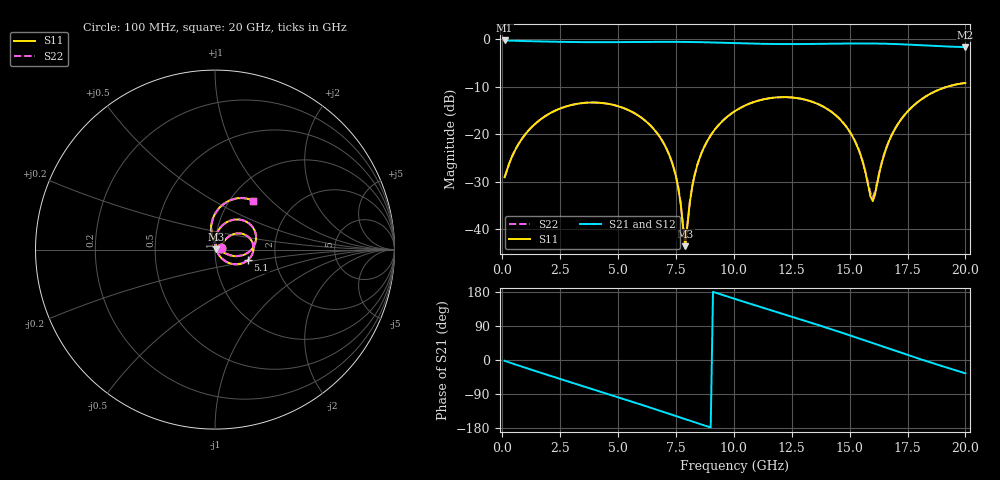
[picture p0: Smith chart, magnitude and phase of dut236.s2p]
! Touchstone file exported from HFSS 2026.1.0
!  File:  C:/ffzhzh/LocalFiles/Ansys_Project_Files/temp_train_TSV_RDL_236_1783065382_18316.aedt
!  Generated:  04:06:40 PM Jul  3, 2026
!  Design:  TSV_RDL
!  Project:  temp_train_TSV_RDL_236_1783065382_18316
! Variables:
!  h_bsmrdl = 5.8um
!  h_ox = 20um
!  h_rdl = 5um
!  h_sub = 62.89um
!  h_tmrdl = 2.36um
!  h_tsv = 62.89um
!  h_via = 3um
!  l_bsmrdl = 706.61um
!  l_sub = 6522.49um
!  l_tmrdl = 966.33um
!  m_sub = 200um
!  pitch = 33.5um
!  r_tsv = 14.05um
!  s_tmrdl = 10um
!  w_bsmrdl = 24.6um
!  w_sub = 500um
!  w_tmrdl = 21.18um
!  x_tsv_center1 = 976.92um
!  x_tsv_center2 = 1708.13um
!  x_tsv_center3 = 2695.64um
!  x_tsv_center4 = 3426.85um
!  x_tsv_center5 = 4414.36um
!  x_tsv_center6 = 5145.57um
# GHz S MA R 50.000000
! Terminal data exported
! Port[1] = TM_RDL1_1_T1
! Port[2] = TM_RDL5_1_T1
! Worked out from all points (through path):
!   200 points, 100 MHz to 20 GHz, reference 50 ohm
!   highest |S21| = -0.29 dB at 100 MHz (marker M1); lowest = -1.7 dB at 20 GHz (marker M2)
!   group delay of S21, straight-line fit = 54.8 ps
!   lowest |S11| = -43.6 dB at 7.9 GHz (marker M3), VSWR 1.01, Z = 50.6 + j0.215 ohm
!   |S11| at or under -10 dB: start of sweep to 19.23 GHz
!   |S22| runs from -42.9 to -9.2 dB; largest |S21 - S12| = 1.7e-14
!   S11 on the Smith chart (normalised r, x): 100 MHz: 1.07, +0.02; 5.1 GHz: 1.44, -0.17; 20 GHz: 1.27, +0.78
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0.1  0.03519 17.7  0.9668 -2.2  0.9668 -2.2  0.03519 17.8
! Gamma 0 0 0 0
! Port Impedance 50 0 50 0
0.6  0.07127 42.6  0.9575 -12.6  0.9575 -12.6  0.07126 42.7
1.3  0.1206 41.9  0.9482 -26.6  0.9482 -26.6  0.1206 41.9
3.5  0.2127 10.3  0.9283 -69.3  0.9283 -69.3  0.2127 10.4
5.1  0.1934 -17.4  0.9287 -100.2  0.9287 -100.2  0.1933 -17.3
6.8  0.09368 -47.0  0.9354 -133.8  0.9354 -133.8  0.09359 -46.6
7.5  0.03589 -53.9  0.9349 -147.9  0.9349 -147.9  0.03586 -53.0
7.7  0.01889 -47.9  0.9342 -152.0  0.9342 -152.0  0.01896 -46.2
7.9  0.006632 18.7  0.9331 -156.0  0.9331 -156.0  0.007157 19.8
8.2  0.02778 88.1  0.9309 -162.1  0.9309 -162.1  0.02804 87.2
8.6  0.06281 88.1  0.927 -170.1  0.927 -170.1  0.06301 87.8
9.2  0.1133 79.3  0.9194 177.8  0.9194 177.8  0.1135 79.2
10.1  0.178 63.6  0.9061 160.1  0.9061 160.1  0.1781 63.6
11.8  0.2429 33.3  0.8872 127.6  0.8872 127.6  0.243 33.5
13.4  0.2183 5.3  0.8883 97.0  0.8883 97.0  0.2186 5.6
15  0.1065 -19.5  0.899 65.2  0.899 65.2  0.1069 -18.6
15.5  0.05755 -20.0  0.9001 54.9  0.9001 54.9  0.05831 -18.3
16  0.01973 43.5  0.8985 44.5  0.8985 44.5  0.02162 42.9
16.7  0.08433 102.8  0.8911 30.0  0.8911 30.0  0.08468 101.5
17.3  0.1513 97.1  0.8802 17.6  0.8802 17.6  0.1514 96.4
18  0.2231 86.1  0.8638 3.4  0.8638 3.4  0.2231 85.7
20  0.3451 52.2  0.8229 -35.2  0.8229 -35.2  0.3451 52.0
